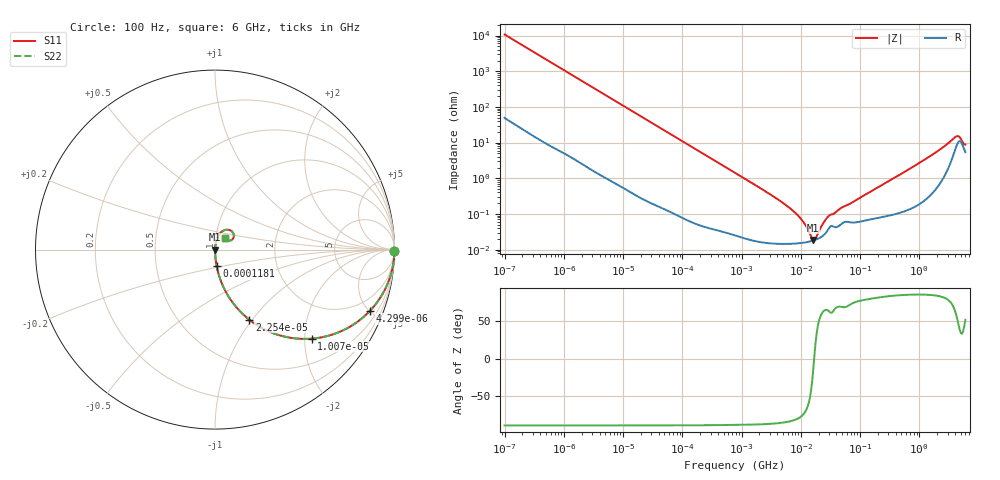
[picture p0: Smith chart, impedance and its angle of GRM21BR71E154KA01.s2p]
!Murata Part Number: GRM21BR71E154KA01
!These Parameters are Measured in Series Mode Connection
!Data Generated on Mar 30, 2021
!  o--ll--o
!Port1  Port2
!  o------o
!Operation Temp=25[degC], DC Bias Voltage=0[V]
!Freq. Start=100[Hz] Stop=6[GHz] 401[Steps]
# Hz S RI R 50
!Freq.(Hz) S11(Real) S11(Imag) S21(Real) S21(Imag) S12(Real) S12(Imag) S22(Real) S22(Imag)
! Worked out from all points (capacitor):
!   401 points, 100 Hz to 6 GHz, reference 50 ohm
!   read as one part in series: C = 148 nF near 109 Hz
!   lowest |Z| = 18.5 mohm at 16.27 MHz (marker M1)
!   series resonance near 16.8 MHz, so ESL is about 610 pH
!   S11 on the Smith chart (normalised r, x): 100 Hz: open; 4.299 kHz: 1.02, -5.05; 10.07 kHz: 1.01, -2.16; 22.54 kHz: 1.00, -0.97; 118.1 kHz: 1.00, -0.19; 6 GHz: 1.11, +0.14
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100  0.9999 -0.00931  0.000129 0.00931  0.000129 0.00931  0.9999 -0.00931
600  0.9967 -0.0554  0.00332 0.0554  0.00332 0.0554  0.9967 -0.0554
2008  0.966 -0.179  0.034 0.179  0.034 0.179  0.966 -0.179
4299  0.8631 -0.3414  0.1369 0.3414  0.1369 0.3414  0.8631 -0.3414
10066  0.5385 -0.496  0.4615 0.496  0.4615 0.496  0.5385 -0.496
22537  0.1909 -0.3905  0.8091 0.3905  0.8091 0.3905  0.1909 -0.3905
40335  0.0696 -0.2515  0.9304 0.2515  0.9304 0.2515  0.0696 -0.2515
118133  0.0092 -0.0919  0.9908 0.0919  0.9908 0.0919  0.0092 -0.0919
774597  0.000453 -0.0142  0.9995 0.0142  0.9995 0.0142  0.000453 -0.0142
3394479  0.000158 -0.00315  0.9998 0.00315  0.9998 0.00315  0.000158 -0.00315
6948629  0.000148 -0.00133  0.9999 0.00133  0.9999 0.00133  0.000148 -0.00133
1.087309e7  0.000156 -0.000597  0.9998 0.000597  0.9998 0.000597  0.000156 -0.000597
1.555665e7  0.000176 -0.000102  0.9998 0.000102  0.9998 0.000102  0.000176 -0.000102
1.626902e7  0.00018 -4.27e-05  0.9998 4.27e-05  0.9998 4.27e-05  0.00018 -4.27e-05
1.779312e7  0.000189 7.72e-05  0.9998 -7.72e-05  0.9998 -7.72e-05  0.000189 7.72e-05
2.434276e7  0.000255 0.000517  0.9997 -0.000517  0.9997 -0.000517  0.000255 0.000517
3.045065e7  0.000418 0.000816  0.9996 -0.000816  0.9996 -0.000816  0.000418 0.000816
3.124326e8  0.000972 0.00842  0.999 -0.00842  0.999 -0.00842  0.000972 0.00842
1.565993e9  0.00522 0.0424  0.9948 -0.0424  0.9948 -0.0424  0.00522 0.0424
4.009986e9  0.0714 0.1109  0.9286 -0.1109  0.9286 -0.1109  0.0714 0.1109
4.586474e9  0.1039 0.0881  0.8961 -0.0881  0.8961 -0.0881  0.1039 0.0881
6e9  0.0554 0.0622  0.9446 -0.0622  0.9446 -0.0622  0.0554 0.0622
